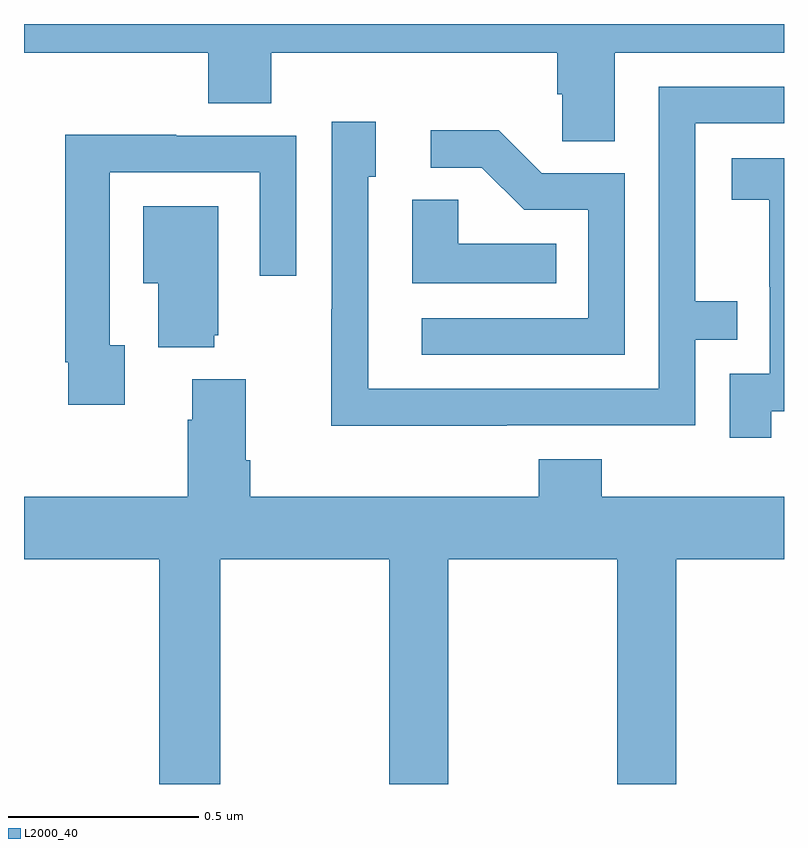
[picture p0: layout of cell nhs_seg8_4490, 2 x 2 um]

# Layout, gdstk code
import gdstk
lib = gdstk.Library(unit=1e-6, precision=1e-09)
def P(c, l, *ps):  # polygons
    for p in ps: c.add(gdstk.Polygon(p, *l))
L2000_40 = (2000, 40)

nhs_seg8_4490 = lib.new_cell('nhs_seg8_4490')
P(nhs_seg8_4490, L2000_40, [(172.555,1125.824),(173,1125.824),(173,1125.9),(171,1125.9),(171,1125.824),(171.485,1125.824),(171.485,1125.691),(171.65,1125.691),(171.65,1125.824),(172.403,1125.824),(172.403,1125.715),(172.416,1125.715),(172.416,1125.592),(172.555,1125.592)],
  [(172.271,1124.844),(172.767,1124.844),(172.767,1125.069),(172.877,1125.069),(172.877,1125.17),(172.767,1125.17),(172.767,1125.639),(173,1125.639),(173,1125.735),(172.671,1125.735),(172.671,1124.94),(171.906,1124.94),(171.906,1125.498),(171.925,1125.498),(171.925,1125.643),(171.81,1125.643),(171.81,1125.149),(171.808,1125.149),(171.808,1124.843),(172.271,1124.843)],
  [(172.581,1125.507),(172.362,1125.507),(172.249,1125.62),(172.071,1125.62),(172.071,1125.522),(172.205,1125.522),(172.316,1125.411),(172.485,1125.411),(172.485,1125.126),(172.047,1125.126),(172.047,1125.03),(172.581,1125.03)],
  [(171.265,1125.054),(171.225,1125.054),(171.225,1125.51),(171.621,1125.51),(171.621,1125.237),(171.717,1125.237),(171.717,1125.606),(171.401,1125.606),(171.401,1125.608),(171.109,1125.608),(171.109,1125.01),(171.117,1125.01),(171.117,1124.898),(171.265,1124.898)],
  [(172.966,1124.881),(173,1124.881),(173,1125.547),(172.863,1125.547),(172.863,1125.437),(172.961,1125.437),(172.961,1125.209),(172.962,1125.209),(172.962,1124.979),(172.857,1124.979),(172.857,1124.811),(172.966,1124.811)],
  [(172.4,1125.322),(172.143,1125.322),(172.143,1125.437),(172.022,1125.437),(172.022,1125.218),(172.4,1125.218)],
  [(171.5,1125.081),(171.511,1125.081),(171.511,1125.421),(171.314,1125.421),(171.314,1125.218),(171.353,1125.218),(171.353,1125.05),(171.5,1125.05)],
  [(171.516,1124.492),(171.961,1124.492),(171.961,1123.9),(172.116,1123.9),(172.116,1124.492),(172.561,1124.492),(172.561,1123.9),(172.716,1123.9),(172.716,1124.492),(173,1124.492),(173,1124.656),(172.52,1124.656),(172.52,1124.755),(172.355,1124.755),(172.355,1124.656),(171.596,1124.656),(171.596,1124.752),(171.583,1124.752),(171.583,1124.965),(171.443,1124.965),(171.443,1124.858),(171.431,1124.858),(171.431,1124.656),(171,1124.656),(171,1124.492),(171.356,1124.492),(171.356,1123.9),(171.516,1123.9)])

lib.write_gds('nhs_seg8_4490.gds')
